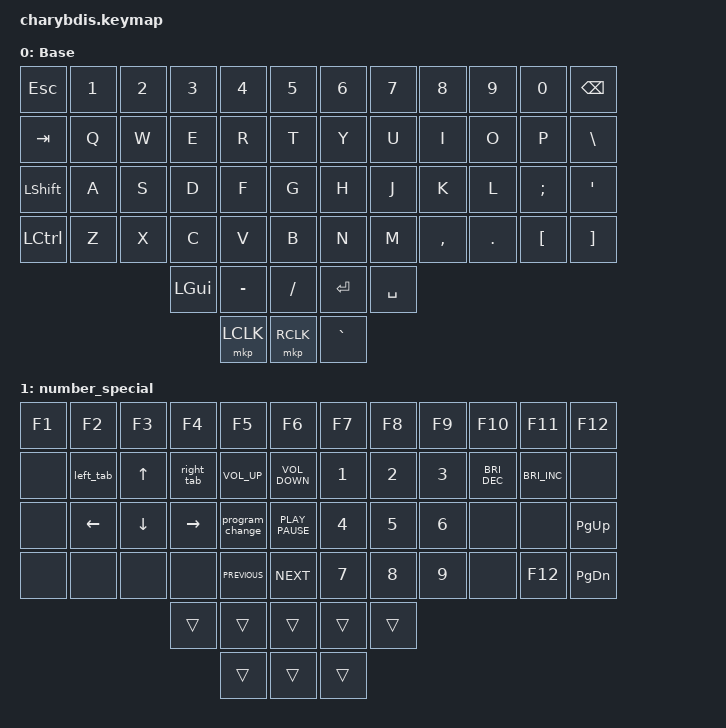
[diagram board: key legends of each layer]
#include <dt-bindings/zmk/mouse.h>
#include <behaviors.dtsi>
#include <dt-bindings/zmk/keys.h>

&lt {
    tapping-term-ms = <200>;
    flavor = "balanced";
    quick-tap-ms = <150>;
};

/ {
    combos {
        compatible = "zmk,combos";

        l_0 {
            bindings = <&to 0>;
            key-positions = <18 19>;
        };

        l_1 {
            bindings = <&to 1>;
            key-positions = <18 20>;
        };

        l_2 {
            bindings = <&to 0>;
            key-positions = <18 21>;
        };

        korean {
            bindings = <&kp F19>;
            key-positions = <13 14>;
        };

        equal {
            bindings = <&kp EQUAL>;
            key-positions = <13 15>;
        };
    };

    macros {
        left_tab: left_tab {
            compatible = "zmk,behavior-macro";
            #binding-cells = <0>;
            bindings = <&kp LEFT_GUI &kp LEFT_SHIFT &kp LEFT_BRACKET>;
            label = "LEFT_TAB";
        };

        right_tab: right_tab {
            compatible = "zmk,behavior-macro";
            #binding-cells = <0>;
            bindings = <&kp LEFT_GUI &kp LEFT_SHIFT &kp RIGHT_BRACKET>;
            label = "RIGHT_TAB";
        };

        program_change: program_change {
            compatible = "zmk,behavior-macro";
            #binding-cells = <0>;
            bindings = <&kp LEFT_GUI &kp GRAVE>;
            label = "PROGRAM_CHANGE";
        };

        homerow_go: homerow_go {
            compatible = "zmk,behavior-macro";
            #binding-cells = <0>;
            bindings = <&kp LEFT_GUI &kp LEFT_SHIFT &kp SPACE>;
            label = "HOMEROW_GO";
        };

        homerow_scroll: homerow_scroll {
            compatible = "zmk,behavior-macro";
            #binding-cells = <0>;
            bindings = <&kp LEFT_GUI &kp LEFT_SHIFT &kp J>;
            label = "HOMEROW_SCROLL";
        };
    };

    keymap {
        compatible = "zmk,keymap";

        Base {
            bindings = <
&kp ESC         &kp N1  &kp N2  &kp N3        &kp N4     &kp N5       &kp N6     &kp N7     &kp N8     &kp N9   &kp N0            &kp BSPC
&kp TAB         &kp Q   &kp W   &kp E         &kp R      &kp T        &kp Y      &kp U      &kp I      &kp O    &kp P             &kp BACKSLASH
&kp LEFT_SHIFT  &kp A   &kp S   &kp D         &kp F      &kp G        &kp H      &kp J      &kp K      &kp L    &kp SEMI          &kp APOS
&kp LCTRL       &kp Z   &kp X   &kp C         &kp V      &kp B        &kp N      &kp M      &kp COMMA  &kp DOT  &kp LEFT_BRACKET  &kp RIGHT_BRACKET
                                &kp LEFT_GUI  &kp MINUS  &kp SLASH    &kp ENTER  &kp SPACE
                                              &mkp LCLK  &mkp RCLK    &kp GRAVE
            >;

            trackball-bindings = <&tmv_coarse>;
        };

        number_special {
            bindings = <
&kp F1  &kp F2          &kp F3          &kp F4           &kp F5           &kp F6               &kp F7        &kp F8        &kp F9        &kp F10               &kp F11               &kp F12
&none   &left_tab       &kp UP_ARROW    &right_tab       &kp C_VOL_UP     &kp C_VOLUME_DOWN    &kp NUMBER_1  &kp NUMBER_2  &kp NUMBER_3  &kp C_BRIGHTNESS_DEC  &kp C_BRIGHTNESS_INC  &none
&none   &kp LEFT_ARROW  &kp DOWN_ARROW  &kp RIGHT_ARROW  &program_change  &kp K_PLAY_PAUSE     &kp NUMBER_4  &kp NUMBER_5  &kp NUMBER_6  &none                 &none                 &kp PAGE_UP
&none   &none           &none           &none            &kp C_PREVIOUS   &kp C_NEXT           &kp NUMBER_7  &kp NUMBER_8  &kp NUMBER_9  &none                 &kp F12               &kp PAGE_DOWN
                                        &trans           &trans           &trans               &trans        &trans
                                                         &trans           &trans               &trans
            >;
        };
    };
};
